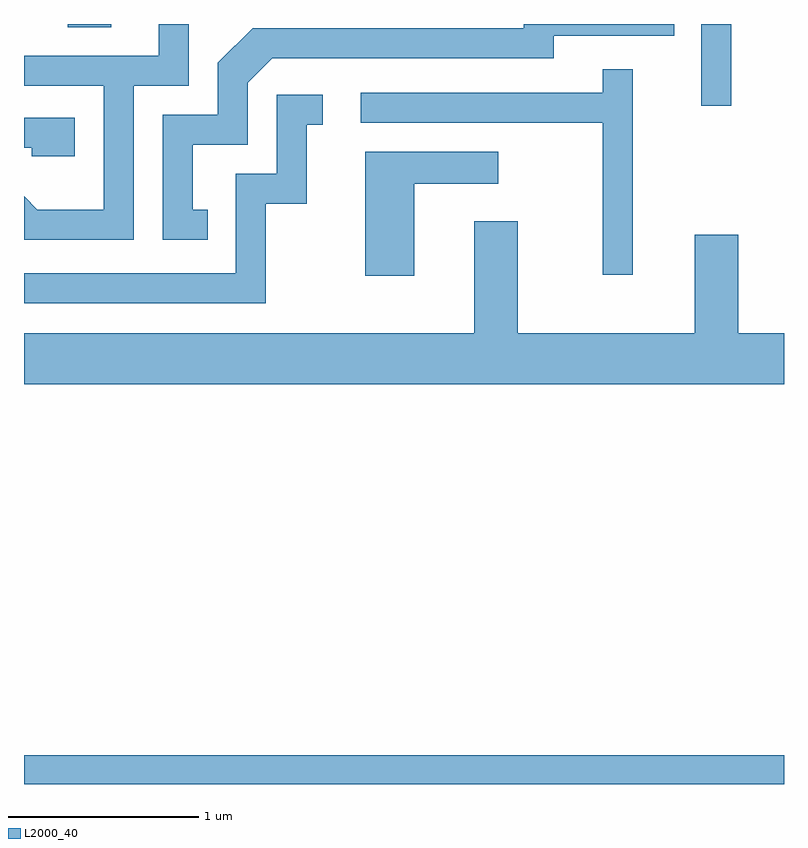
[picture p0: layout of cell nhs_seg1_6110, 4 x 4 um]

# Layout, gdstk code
import gdstk
lib = gdstk.Library(unit=1e-6, precision=1e-09)
def R(c, l, rs):  # rectangles x0, y0, x1, y1
    for r in rs: c.add(gdstk.rectangle(r[:2], r[2:], *l))
def P(c, l, *ps):  # polygons
    for p in ps: c.add(gdstk.Polygon(p, *l))
L2000_40 = (2000, 40)

nhs_seg1_6110 = lib.new_cell('nhs_seg1_6110')
R(nhs_seg1_6110, L2000_40, [(369.611,879.712,373.611,879.864), (373.176,883.283,373.334,883.712), (369.841,883.696,370.069,883.712)])
P(nhs_seg1_6110, L2000_40, [(370.189,883.386),(370.479,883.386),(370.479,883.712),(370.321,883.712),(370.321,883.544),(369.611,883.544),(369.611,883.386),(370.031,883.386),(370.031,882.734),(369.682,882.734),(369.611,882.805),(369.611,882.576),(370.189,882.576)],
  [(370.578,882.734),(370.499,882.734),(370.499,883.076),(370.789,883.076),(370.789,883.404),(370.917,883.531),(372.399,883.531),(372.399,883.651),(373.033,883.651),(373.033,883.712),(372.241,883.712),(372.241,883.689),(370.814,883.689),(370.631,883.507),(370.631,883.234),(370.341,883.234),(370.341,882.576),(370.578,882.576)],
  [(372.814,883.473),(372.656,883.473),(372.656,883.349),(371.383,883.349),(371.383,883.191),(372.656,883.191),(372.656,882.393),(372.814,882.393)],
  [(370.884,882.766),(371.099,882.766),(371.099,883.181),(371.183,883.181),(371.183,883.339),(370.941,883.339),(370.941,882.924),(370.726,882.924),(370.726,882.399),(369.611,882.399),(369.611,882.241),(370.884,882.241)],
  [(369.879,883.219),(369.611,883.219),(369.611,883.061),(369.651,883.061),(369.651,883.016),(369.879,883.016)],
  [(371.664,882.871),(372.108,882.871),(372.108,883.039),(371.406,883.039),(371.406,882.386),(371.664,882.386)],
  [(373.611,882.084),(373.369,882.084),(373.369,882.604),(373.141,882.604),(373.141,882.084),(372.209,882.084),(372.209,882.674),(371.981,882.674),(371.981,882.084),(369.611,882.084),(369.611,881.816),(373.611,881.816)])

lib.write_gds('nhs_seg1_6110.gds')
